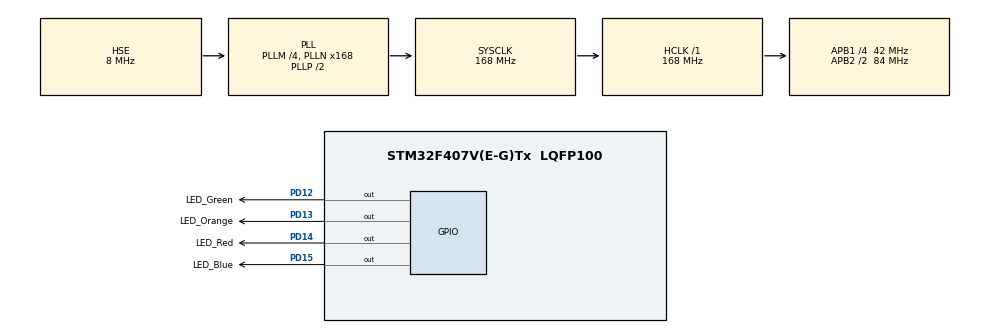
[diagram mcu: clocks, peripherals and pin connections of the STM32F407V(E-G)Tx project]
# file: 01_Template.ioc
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FREERTOS.Tasks01=Task_1,8,128,Task_One,Default,NULL,Dynamic,NULL,NULL;Task_2,16,128,Task_Two,Default,NULL,Dynamic,NULL,NULL;Task_3,24,128,Task_Three,Default,NULL,Dynamic,NULL,NULL;Task_4,32,128,Task_Four,Default,NULL,Dynamic,NULL,NULL
FREERTOS.configGENERATE_RUN_TIME_STATS=0
FREERTOS.configRECORD_STACK_HIGH_ADDRESS=1
FREERTOS.configUSE_IDLE_HOOK=1
Mcu.Family=STM32F4
Mcu.Name=STM32F407V(E-G)Tx
Mcu.Package=LQFP100
NVIC.PriorityGroup=NVIC_PRIORITYGROUP_4
NVIC.TIM6_DAC_IRQn=true\:15\:0\:false\:false\:true\:false\:false\:true
NVIC.TimeBase=TIM6_DAC_IRQn
NVIC.TimeBaseIP=TIM6
PA13.Mode=Serial_Wire
PA13.Signal=SYS_JTMS-SWDIO
PA14.Mode=Serial_Wire
PA14.Signal=SYS_JTCK-SWCLK
PD12.GPIO_Label=LED_Green
PD12.Signal=GPIO_Output
PD13.GPIO_Label=LED_Orange
PD13.Signal=GPIO_Output
PD14.GPIO_Label=LED_Red
PD14.Signal=GPIO_Output
PD15.GPIO_Label=LED_Blue
PD15.Signal=GPIO_Output
PH0-OSC_IN.Mode=HSE-External-Clock-Source
PH0-OSC_IN.Signal=RCC_OSC_IN
PH1-OSC_OUT.Mode=HSE-External-Clock-Source
PH1-OSC_OUT.Signal=RCC_OSC_OUT
ProjectManager.HeapSize=0x200
ProjectManager.StackSize=0x400
ProjectManager.TargetToolchain=STM32CubeIDE
RCC.48MHZClocksFreq_Value=84000000
RCC.AHBFreq_Value=168000000
RCC.APB1CLKDivider=RCC_HCLK_DIV4
RCC.APB1Freq_Value=42000000
RCC.APB1TimFreq_Value=84000000
RCC.APB2CLKDivider=RCC_HCLK_DIV2
RCC.APB2Freq_Value=84000000
RCC.APB2TimFreq_Value=168000000
RCC.CortexFreq_Value=168000000
RCC.HCLKFreq_Value=168000000
RCC.HSE_VALUE=8000000
RCC.HSI_VALUE=16000000
RCC.LSE_VALUE=32768
RCC.PLLM=4
RCC.PLLN=168
RCC.PLLSourceVirtual=RCC_PLLSOURCE_HSE
RCC.SYSCLKFreq_VALUE=168000000
RCC.SYSCLKSource=RCC_SYSCLKSOURCE_PLLCLK
RCC.VCOOutputFreq_Value=336000000
VP_FREERTOS_VS_CMSIS_V2.Mode=CMSIS_V2
VP_SYS_VS_tim6.Mode=TIM6
board=custom

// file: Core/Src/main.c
/* USER CODE BEGIN Header */
/**
  ******************************************************************************
  * @file           : main.c
  * @brief          : Main program body
  ******************************************************************************
  * @attention
  *
  * <h2><center>&copy; Copyright (c) 2022 STMicroelectronics.
  * All rights reserved.</center></h2>
  *
  * This software component is licensed by ST under BSD 3-Clause license,
  * the "License"; You may not use this file except in compliance with the
  * License. You may obtain a copy of the License at:
  *                        opensource.org/licenses/BSD-3-Clause
  *
  ******************************************************************************
  */
/* USER CODE END Header */
#include "main.h"
#include "cmsis_os.h"
#include "gpio.h"

void SystemClock_Config(void);
void MX_FREERTOS_Init(void);

int main(void)
{

  /* MCU Configuration--------------------------------------------------------*/

  /* Reset of all peripherals, Initializes the Flash interface and the Systick. */
  HAL_Init();

  /* Configure the system clock */
  SystemClock_Config();

  /* Initialize all configured peripherals */
  MX_GPIO_Init();

  /* Init scheduler */
  osKernelInitialize();  /* Call init function for freertos objects (in freertos.c) */
  MX_FREERTOS_Init();
  /* Start scheduler */
  osKernelStart();

  /* We should never get here as control is now taken by the scheduler */
  /* Infinite loop */
  while (1)
  {

    /* USER CODE BEGIN 3 */

	  HAL_Delay(250);
  }
  /* USER CODE END 3 */
}

void SystemClock_Config(void)
{
  RCC_OscInitTypeDef RCC_OscInitStruct = {0};
  RCC_ClkInitTypeDef RCC_ClkInitStruct = {0};

  /** Configure the main internal regulator output voltage
  */
  __HAL_RCC_PWR_CLK_ENABLE();
  __HAL_PWR_VOLTAGESCALING_CONFIG(PWR_REGULATOR_VOLTAGE_SCALE1);
  /** Initializes the RCC Oscillators according to the specified parameters
  * in the RCC_OscInitTypeDef structure.
  */
  RCC_OscInitStruct.OscillatorType = RCC_OSCILLATORTYPE_HSE;
  RCC_OscInitStruct.HSEState = RCC_HSE_BYPASS;
  RCC_OscInitStruct.PLL.PLLState = RCC_PLL_ON;
  RCC_OscInitStruct.PLL.PLLSource = RCC_PLLSOURCE_HSE;
  RCC_OscInitStruct.PLL.PLLM = 4;
  RCC_OscInitStruct.PLL.PLLN = 168;
  RCC_OscInitStruct.PLL.PLLP = RCC_PLLP_DIV2;
  RCC_OscInitStruct.PLL.PLLQ = 4;
  if (HAL_RCC_OscConfig(&RCC_OscInitStruct) != HAL_OK)
  {
    Error_Handler();
  }
  /** Initializes the CPU, AHB and APB buses clocks
  */
  RCC_ClkInitStruct.ClockType = RCC_CLOCKTYPE_HCLK|RCC_CLOCKTYPE_SYSCLK
                              |RCC_CLOCKTYPE_PCLK1|RCC_CLOCKTYPE_PCLK2;
  RCC_ClkInitStruct.SYSCLKSource = RCC_SYSCLKSOURCE_PLLCLK;
  RCC_ClkInitStruct.AHBCLKDivider = RCC_SYSCLK_DIV1;
  RCC_ClkInitStruct.APB1CLKDivider = RCC_HCLK_DIV4;
  RCC_ClkInitStruct.APB2CLKDivider = RCC_HCLK_DIV2;

  if (HAL_RCC_ClockConfig(&RCC_ClkInitStruct, FLASH_LATENCY_5) != HAL_OK)
  {
    Error_Handler();
  }
}

void HAL_TIM_PeriodElapsedCallback(TIM_HandleTypeDef *htim)
{
  if (htim->Instance == TIM6) {
    HAL_IncTick();
  }
}

void Error_Handler(void)
{
  __disable_irq();
  while (1)
  {
  }
}

/************************ (C) COPYRIGHT STMicroelectronics *****END OF FILE****/

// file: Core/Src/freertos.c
/* USER CODE BEGIN Header */
/**
  ******************************************************************************
  * File Name          : freertos.c
  * Description        : Code for freertos applications
  ******************************************************************************
  * @attention
  *
  * <h2><center>&copy; Copyright (c) 2022 STMicroelectronics.
  * All rights reserved.</center></h2>
  *
  * This software component is licensed by ST under Ultimate Liberty license
  * SLA0044, the "License"; You may not use this file except in compliance with
  * the License. You may obtain a copy of the License at:
  *                             www.st.com/SLA0044
  *
  ******************************************************************************
  */
/* USER CODE END Header */

#include "FreeRTOS.h"
#include "task.h"
#include "main.h"
#include "cmsis_os.h"

/* USER CODE BEGIN Includes */
#include <stdio.h>
/* USER CODE END Includes */

/* USER CODE BEGIN Variables */

typedef struct Student{
	uint32_t Student_ID;
	uint32_t Student_Grade;
}Student_t;

BaseType_t xReturned_vTaskCodeOne;
BaseType_t xReturned_vTaskCodeTwo;
TaskHandle_t xHandle_vTaskCodeOne = NULL;
TaskHandle_t xHandle_vTaskCodeTwo = NULL;

void vTaskCodeOne( void * pvParameters );
void vTaskCodeTwo( void * pvParameters );

uint32_t pvParameters_vTaskCodeOne = 0x11223344;
Student_t Ahmed = {
	.Student_ID = 88,
	.Student_Grade = 99
};

/* USER CODE END Variables */
/* Definitions for Task_1 */
osThreadId_t Task_1Handle;
const osThreadAttr_t Task_1_attributes = {
  .name = "Task_1",
  .stack_size = 128 * 4,
  .priority = (osPriority_t) osPriorityLow,
};
/* Definitions for Task_2 */
osThreadId_t Task_2Handle;
const osThreadAttr_t Task_2_attributes = {
  .name = "Task_2",
  .stack_size = 128 * 4,
  .priority = (osPriority_t) osPriorityBelowNormal,
};
/* Definitions for Task_3 */
osThreadId_t Task_3Handle;
const osThreadAttr_t Task_3_attributes = {
  .name = "Task_3",
  .stack_size = 128 * 4,
  .priority = (osPriority_t) osPriorityNormal,
};
/* Definitions for Task_4 */
osThreadId_t Task_4Handle;
const osThreadAttr_t Task_4_attributes = {
  .name = "Task_4",
  .stack_size = 128 * 4,
  .priority = (osPriority_t) osPriorityAboveNormal,
};

void Task_One(void *argument);
void Task_Two(void *argument);
void Task_Three(void *argument);
void Task_Four(void *argument);

void MX_FREERTOS_Init(void); /* (MISRA C 2004 rule 8.1) */

/* Hook prototypes */
void vApplicationIdleHook(void);

/* USER CODE BEGIN 2 */
void vApplicationIdleHook( void )
{
   /* vApplicationIdleHook() will only be called if configUSE_IDLE_HOOK is set
   to 1 in FreeRTOSConfig.h. It will be called on each iteration of the idle
   task. It is essential that code added to this hook function never attempts
   to block in any way (for example, call xQueueReceive() with a block time
   specified, or call vTaskDelay()). If the application makes use of the
   vTaskDelete() API function (as this demo application does) then it is also
   important that vApplicationIdleHook() is permitted to return to its calling
   function, because it is the responsibility of the idle task to clean up
   memory allocated by the kernel to any task that has since been deleted. */
}
/* USER CODE END 2 */

void MX_FREERTOS_Init(void) {

  /* Create the thread(s) */
  /* creation of Task_1 */
  //Task_1Handle = osThreadNew(Task_One, NULL, &Task_1_attributes);

  /* creation of Task_2 */
  //Task_2Handle = osThreadNew(Task_Two, NULL, &Task_2_attributes);

  /* creation of Task_3 */
  //Task_3Handle = osThreadNew(Task_Three, NULL, &Task_3_attributes);

  /* creation of Task_4 */
  //Task_4Handle = osThreadNew(Task_Four, NULL, &Task_4_attributes);

  /* USER CODE BEGIN RTOS_THREADS */

  xReturned_vTaskCodeOne = xTaskCreate(vTaskCodeOne,
		  	  	  	  	  	  	  	  "This is vTaskCodeOne Task",
									  128,
									  (void *) &pvParameters_vTaskCodeOne,
									  45,
									  &xHandle_vTaskCodeOne);
  xReturned_vTaskCodeTwo = xTaskCreate(vTaskCodeTwo,
  		  	  	  	  	  	  	  	  "This is vTaskCodeTwo Task",
  									  128,
  									  (void *) &Ahmed,
  									  46,
  									  &xHandle_vTaskCodeTwo);

  /* USER CODE END RTOS_THREADS */

}

void Task_One(void *argument)
{
  /* USER CODE BEGIN Task_One */
  uint32_t Counter_Task = 0;
  /* Infinite loop */
  for(;;)
  {
	  HAL_GPIO_TogglePin(GPIOA,GPIO_PIN_0);
	Counter_Task++;
    printf("Task_One Counter_Task = %i \n", Counter_Task);
    osDelay(500);
  }
  /* USER CODE END Task_One */
}

void Task_Two(void *argument)
{
	  HAL_GPIO_TogglePin(GPIOA,GPIO_PIN_2);
  /* USER CODE BEGIN Task_Two */
  uint32_t Counter_Task = 0;
  /* Infinite loop */
  for(;;)
  {
	Counter_Task++;
	printf("Task_Two Counter_Task = %i \n", Counter_Task);
    osDelay(1000);
  }
  /* USER CODE END Task_Two */
}

void Task_Three(void *argument)
{
  /* USER CODE BEGIN Task_Three */
  uint32_t Counter_Task = 0;
  /* Infinite loop */
  for(;;)
  {
	Counter_Task++;
	printf("Task_Three Counter_Task = %i \n", Counter_Task);
    osDelay(1500);
  }
  /* USER CODE END Task_Three */
}

void Task_Four(void *argument)
{
  /* USER CODE BEGIN Task_Four */
  uint32_t Counter_Task = 0;
  /* Infinite loop */
  for(;;)
  {
	Counter_Task++;
	printf("Task_Four Counter_Task = %i \n", Counter_Task);
    osDelay(2000);
  }
  /* USER CODE END Task_Four */
}

/* USER CODE BEGIN Application */

void vTaskCodeOne(void *pvParameters)
{
	uint32_t Local_pvParameters = *((uint32_t *)pvParameters);
    for( ;; )
    {
    	printf("vTaskCodeOne 0x%X => \n", Local_pvParameters);
    	printf("vTaskCodeOne 0x%X -> \n", *((uint32_t *)pvParameters));
    	vTaskDelay(250);
    }
}

void vTaskCodeTwo(void *pvParameters)
{
    for( ;; )
    {
    	printf("Student ID    : %i \n", ((Student_t *)pvParameters)->Student_ID);
    	printf("Student Grade : %i \n", ((Student_t *)pvParameters)->Student_Grade);
    	vTaskDelay(500);
    }
}

/* USER CODE END Application */

/************************ (C) COPYRIGHT STMicroelectronics *****END OF FILE****/
